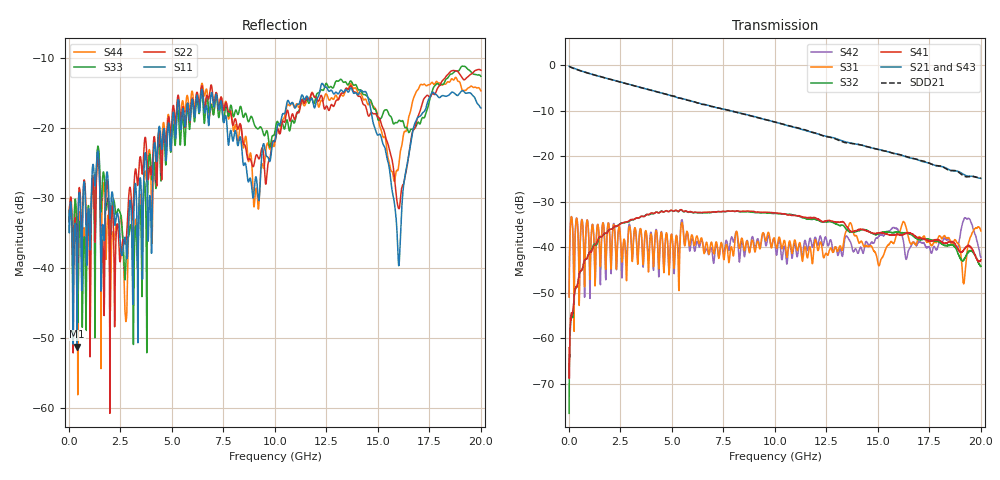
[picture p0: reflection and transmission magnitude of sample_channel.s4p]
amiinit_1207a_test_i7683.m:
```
%% test amiinit_1207a using i7683 AMI model

%% setup channel parameters
bit_rate = 14.5e9;         %bits-per-second
bit_time = 1/bit_rate;   % second
samples_per_bit = 32;  
sampling_rate = bit_rate * samples_per_bit; 
sample_step = bit_time / samples_per_bit;
seqlength = 10000;   % length of random sequence bits


%% setup IBIS AMI model path and filename:
modelpath = 'C:\Users\younger\Documents\MATLAB\_develop\_chasim\i7683_OPUS_SERDES_16GFC\data\SerDes_Models';

tx_amifilename = 'G40_14p5G_LR_Tx.ami';
rx_amifilename = 'G40_14p5G_LR_Rx.ami';
tx_dllfilename = 'G40_14p5G_LR_Tx_1p65_tt.dll';
rx_dllfilename = 'G40_14p5G_LR_Rx.dll';

tx_amifile = fullfile(modelpath, tx_amifilename);
rx_amifile = fullfile(modelpath, rx_amifilename);
tx_dllfile = fullfile(modelpath, tx_dllfilename);
rx_dllfile = fullfile(modelpath, rx_dllfilename);

addpath(modelpath)

%% get channel impulse response 
addpath('C:\Users\younger\Documents\MATLAB\_develop\_chasim\impulse_response_oct2012');

s4ppath = 'C:\Users\younger\Documents\MATLAB\_develop\_chasim\i7683_OPUS_SERDES_16GFC\data\Channel_Models';
s4pname = 'sample_channel.s4p';
s4pfile = fullfile(s4ppath, s4pname);
s4pstruct = tsnpimporti(s4pfile);
s4pstruct0 = snpinsertdc(s4pstruct);

flist = s4pstruct0.freqlist;
nfp = length(flist);
s12 = reshape( s4pstruct0.data(1,2,:), nfp, 1) ;

fstep = 10e6;

[tlist, impresi, tstep, tspan, err, errmsg] = spimpres(flist, s12);

tinterp = 0:sample_step:5000*sample_step;
[channel_impres, e2, em2] = wavesample(tlist, impresi, tinterp);
plot(tinterp, channel_impres,'--rs', tlist, impresi,'-.bo');
title('Impulse Response');
xlabel('Time');
ylabel('Impulse');
legend('Resampled');
grid on;


pausehere = 1;

%% IBIS AMI_Init
[ impresotx, amiparotx, mhtx, initmsgtx, errtx, errmsgtx ] = amiinit_1207a(tx_amifile, tx_dllfile, channel_impres, sample_step, bit_time);

plot(tinterp, channel_impres,'--rs', tinterp, impresotx','-.bo');
title('Impulse Response');
xlabel('Time');
ylabel('Impulse');
legend('Whatever');
grid on;


[ impresorx, amiparorx, mhrx, initmsgrx, errrx, errmsgrx ] = amiinit_1207a(rx_amifile, rx_dllfile, impresotx, sample_step, bit_time);

plot(tinterp, channel_impres,'--rs', tinterp, impresotx','-.bo', tinterp, (impresorx - 0.05)',':md');
title('Impulse Response');
xlabel('Time');
ylabel('Impulse');
%legend('Modified');
grid on;

%% IBIS AMI_GetWave, Tx
seqi = prbs1(seqlength);
[wavei,sample_step_txgw, tlistt, etxgw,emtxgw] = bnrzmod(seqi, bit_rate, samples_per_bit);
wave_time = tlistt; 

clk_count = seqlength + 2;
clki = rand(1, clk_count) * seqlength * bit_time;


[ waveo, clko, amiparo, amimemhdl, err, errmsg ] = amigetwave_1208a(tx_dllfile, mhtx, wavei, clki);

plot(wave_time, wavei,'--rs', wave_time, waveo,'-.bo');
title('Impulse Response');
xlabel('Time');
ylabel('Impulse');
%legend('Whatever');
grid on;

%% convolution with channel impulse response

wave_rxin = conv(waveo, impresorx');
wave_time_rxin = ( 0: (length(wave_rxin)-1) ) * sample_step_txgw;
plot(wave_time, wavei,'--ms', wave_time, waveo,'--rd', wave_time_rxin, wave_rxin*0.1,'-.bo');
title('Impulse Response');
xlabel('Time');
ylabel('Impulse');
%legend('Whatever');
grid on;

%% IBIS AMI_GetWave, Rx
seqlength_rxin = length(wave_rxin) / samples_per_bit ;
clk_count = int64(seqlength_rxin + 10);
clki = rand(1, clk_count) * seqlength_rxin * bit_time;

[ wave_rxo, clk_rxo, amipar_rxo, amimemhdl_rxo, errrxo, errmsgrxo ] = amigetwave_1208a(rx_dllfile, mhrx, wave_rxin*0.1, clki);
%plot(wave_time, wavei,'--ms', wave_time, waveo,'--rd', wave_time_rxin, wave_rxin,'-.bo');
%plot( wave_time, waveo,'--rd', wave_time_rxin, wave_rxin,'-.bo', wave_time_rxin, wave_rxo,'-.ms');
% % plot(  wave_time_rxin, wave_rxin*0.1,'-.bo', wave_time_rxin, wave_rxo,'-.ms');
% % title('Impulse Response');
% % xlabel('Time');
% % ylabel('Impulse');
% % legend('Whatever');
% % grid on;

clf;
wave_time_rxin_12 = wave_time_rxin(2000:(2000+samples_per_bit*100));
wave_rxin_12      = wave_rxin(2000:(2000+samples_per_bit*100));
wave_rxo_12       = wave_rxo(2000:(2000+samples_per_bit*100));
plot(  wave_time_rxin_12, wave_rxin_12*0.1,'-.bo', wave_time_rxin_12, wave_rxo_12,'-.ms');
title('Impulse Response');
xlabel('Time');
ylabel('Impulse');
%legend('Whatever');
grid on;

h = eyediagram(wave_rxo(2000:(2000+samples_per_bit*100)), 2*samples_per_bit);

pausehere=1;
```
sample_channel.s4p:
! FILE: sample_channel.s4p
# MHz S MA R 50.00
! FREQ  S11  S12  S13  S14
!  S21  S22  S23  S24
!  S31  S32  S33  S34
!  S41  S42  S43  S44
!  MAG  ANG  MAG  ANG  MAG  ANG  MAG  ANG
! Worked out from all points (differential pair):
!   2000 points, 10 MHz to 20 GHz, reference 50 ohm
!   strongest paths, dB at 10 MHz, 5.01 GHz, 10.01 GHz, 15.01 GHz, 20 GHz:
!     S21: -0.2, -6.7, -12.5, -18.4, -24.8
!     S43: -0.3, -6.7, -12.5, -18.6, -24.8
!     S41: -62.1, -31.9, -32.4, -36.8, -42.7
!     S32: -76.5, -31.9, -32.5, -37.0, -44.2
!     S31: -50.9, -37.6, -38.6, -43.6, -36.4
!     S42: -50.8, -37.7, -39.5, -37.8, -42.2
!   taken as a pair (ports 1,3 in; 2,4 out), SDD21 dB: -0.2, -6.7, -12.5, -18.5, -24.8
!   lowest |S11| = -51.3 dB at 400 MHz (marker M1), VSWR 1.01, Z = 50 - j0.269 ohm
!   |S11| at or under -10 dB: start of sweep to end of sweep
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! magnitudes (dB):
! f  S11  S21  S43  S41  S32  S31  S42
! 10 MHz  -31.8  -0.2  -0.3  -62.1  -76.5  -50.9  -50.8
! 400 MHz  -51.3  -0.9  -1.0  -48.5  -48.5  -34.0  -34.0
! 20 GHz  -17.2  -24.8  -24.8  -42.7  -44.2  -36.4  -42.2
